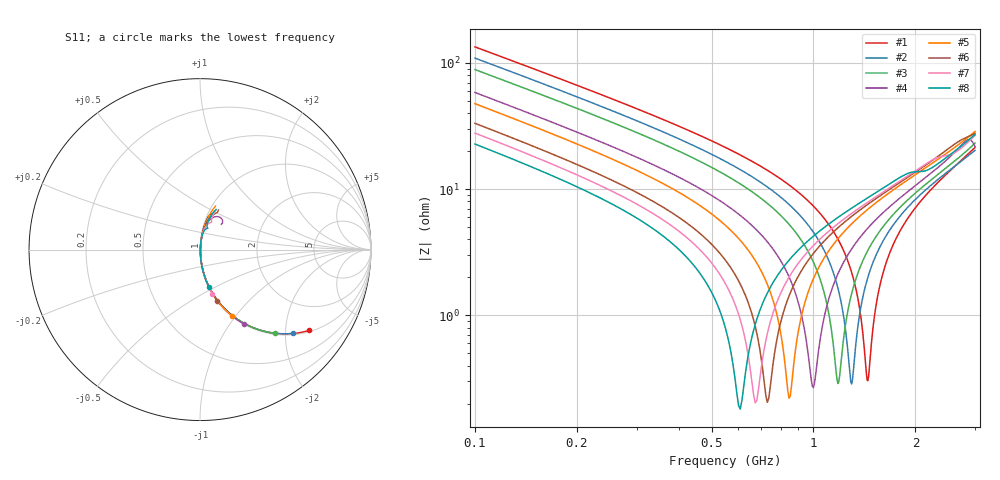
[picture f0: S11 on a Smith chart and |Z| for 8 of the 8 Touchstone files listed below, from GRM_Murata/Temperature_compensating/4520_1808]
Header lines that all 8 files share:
!These Parameters are Measured in Series Mode Connection
!Data Generated on Mar 30, 2021
!  o--ll--o
!Port1  Port2
!  o------o
!Operation Temp=25[degC], DC Bias Voltage=0[V]
!Freq. Start=100[MHz] Stop=3[GHz] 401[Steps]
# Hz S RI R 50
!Freq.(Hz) S11(Real) S11(Imag) S21(Real) S21(Imag) S12(Real) S12(Imag) S22(Real) S22(Imag)
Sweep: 100 MHz to 3 GHz
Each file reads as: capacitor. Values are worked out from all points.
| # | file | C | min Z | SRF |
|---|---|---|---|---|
| 1 | GRM42A7U3F120JW31.s2p | 11.7 pF | 303 mohm | 1.446 GHz |
| 2 | GRM42A7U3F150JW31.s2p | 14.4 pF | 286 mohm | 1.295 GHz |
| 3 | GRM42A7U3F180JW31.s2p | 17.7 pF | 288 mohm | 1.182 GHz |
| 4 | GRM42A7U3F270JW31.s2p | 27 pF | 267 mohm | 997.9 MHz |
| 5 | GRM42A7U3F330JW31.s2p | 33 pF | 220 mohm | 848.9 MHz |
| 6 | GRM42A7U3F470JW31.s2p | 46.9 pF | 205 mohm | 731.6 MHz |
| 7 | GRM42A7U3F560JW31.s2p | 55.9 pF | 202 mohm | 675 MHz |
| 8 | GRM42A7U3F680JW31.s2p | 67.9 pF | 181 mohm | 606.1 MHz |
